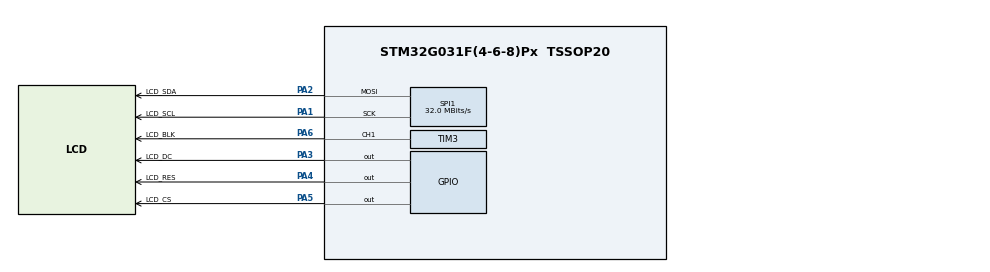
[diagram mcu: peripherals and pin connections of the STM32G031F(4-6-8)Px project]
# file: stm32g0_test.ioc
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Dma.Request0=SPI1_TX
Dma.SPI1_TX.0.Direction=DMA_MEMORY_TO_PERIPH
Dma.SPI1_TX.0.EventEnable=DISABLE
Dma.SPI1_TX.0.Instance=DMA1_Channel1
Dma.SPI1_TX.0.MemDataAlignment=DMA_MDATAALIGN_HALFWORD
Dma.SPI1_TX.0.MemInc=DMA_MINC_ENABLE
Dma.SPI1_TX.0.Mode=DMA_NORMAL
Dma.SPI1_TX.0.PeriphDataAlignment=DMA_PDATAALIGN_HALFWORD
Dma.SPI1_TX.0.PeriphInc=DMA_PINC_DISABLE
Dma.SPI1_TX.0.Polarity=HAL_DMAMUX_REQ_GEN_RISING
Dma.SPI1_TX.0.Priority=DMA_PRIORITY_LOW
Dma.SPI1_TX.0.RequestNumber=1
Dma.SPI1_TX.0.SignalID=NONE
Dma.SPI1_TX.0.SyncEnable=DISABLE
Dma.SPI1_TX.0.SyncPolarity=HAL_DMAMUX_SYNC_NO_EVENT
Dma.SPI1_TX.0.SyncRequestNumber=1
Dma.SPI1_TX.0.SyncSignalID=NONE
Mcu.Family=STM32G0
Mcu.Name=STM32G031F(4-6-8)Px
Mcu.Package=TSSOP20
NVIC.DMA1_Channel1_IRQn=true\:0\:0\:false\:false\:true\:false\:true\:true
PA1.GPIO_Label=LCD_SCL
PA1.GPIO_PuPd=GPIO_PULLUP
PA1.GPIO_Speed=GPIO_SPEED_FREQ_VERY_HIGH
PA1.Mode=TX_Only_Simplex_Unidirect_Master
PA1.Signal=SPI1_SCK
PA13.Mode=Serial_Wire
PA13.Signal=SYS_SWDIO
PA14-BOOT0.Mode=Serial_Wire
PA14-BOOT0.Signal=SYS_SWCLK
PA14-BOOT0__PA15.StandardMode=true
PA2.GPIO_Label=LCD_SDA
PA2.GPIO_PuPd=GPIO_PULLUP
PA2.GPIO_Speed=GPIO_SPEED_FREQ_VERY_HIGH
PA2.Mode=TX_Only_Simplex_Unidirect_Master
PA2.Signal=SPI1_MOSI
PA3.GPIO_Label=LCD_DC
PA3.GPIO_Speed=GPIO_SPEED_FREQ_HIGH
PA3.PinState=GPIO_PIN_SET
PA3.Signal=GPIO_Output
PA4.GPIO_Label=LCD_RES
PA4.GPIO_PuPd=GPIO_PULLUP
PA4.GPIO_Speed=GPIO_SPEED_FREQ_HIGH
PA4.PinState=GPIO_PIN_SET
PA4.Signal=GPIO_Output
PA5.GPIO_Label=LCD_CS
PA5.GPIO_PuPd=GPIO_PULLUP
PA5.GPIO_Speed=GPIO_SPEED_FREQ_HIGH
PA5.PinState=GPIO_PIN_SET
PA5.Signal=GPIO_Output
PA6.GPIO_Label=LCD_BLK
PA6.Signal=S_TIM3_CH1
PB0__PB1__PB2__PA8.StandardMode=true
PB3__PB4__PB5__PB6.StandardMode=true
PB7__PB8.StandardMode=true
PC14-OSC32_IN\ (PC14)__PB9.StandardMode=true
ProjectManager.HeapSize=0x200
ProjectManager.StackSize=0x400
ProjectManager.TargetToolchain=STM32CubeIDE
RCC.ADCFreq_Value=64000000
RCC.AHBFreq_Value=64000000
RCC.CortexFreq_Value=64000000
RCC.EXTERNAL_CLOCK_VALUE=12288000
RCC.HCLKFreq_Value=64000000
RCC.HSE_VALUE=8000000
RCC.HSI_VALUE=16000000
RCC.LSE_VALUE=32768
RCC.SYSCLKFreq_VALUE=64000000
RCC.SYSCLKSource=RCC_SYSCLKSOURCE_PLLCLK
RCC.VCOOutputFreq_Value=128000000
SH.S_TIM3_CH1.0=TIM3_CH1,PWM Generation1 CH1
SPI1.CLKPolarity=SPI_POLARITY_HIGH
SPI1.CalculateBaudRate=32.0 MBits/s
SPI1.DataSize=SPI_DATASIZE_16BIT
SPI1.Direction=SPI_DIRECTION_2LINES
SPI1.Mode=SPI_MODE_MASTER
SPI1.VirtualType=VM_MASTER
TIM3.Channel-PWM\ Generation1\ CH1=TIM_CHANNEL_1
TIM3.Period=159
TIM3.Prescaler=999
board=custom

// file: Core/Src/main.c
/* USER CODE BEGIN Header */
/*
 *	Драйвер управления дисплеями по SPI
 *  Author: VadRov
 *  Copyright (C) 2019 - 2023, VadRov, all right reserved.
 *
 *  Допускается свободное распространение без целей коммерческого использования.
 *  При коммерческом использовании необходимо согласование с автором.
 *  Распространятся по типу "как есть", то есть использование осуществляете на свой страх и риск.
 *  Автор не предоставляет никаких гарантий.
 *
 *  Версия: 1.4G0 (на CMSIS и LL) для STM32G0
 *
 *  https://www.youtube.com/@VadRov
 *  https://dzen.ru/vadrov
 *  https://vk.com/vadrov
 *  https://t.me/vadrov_channel
 *
 */
/* USER CODE END Header */
#include "main.h"

/* USER CODE BEGIN Includes */
#include "display.h"
#include "st7789.h"
#include <stdlib.h>
/* USER CODE END Includes */

/* USER CODE BEGIN PD */
uint32_t millis = 0;
/* USER CODE END PD */

void SystemClock_Config(void);
static void MX_GPIO_Init(void);
static void MX_DMA_Init(void);
static void MX_SPI1_Init(void);
static void MX_TIM3_Init(void);

int main(void)
{

  /* MCU Configuration--------------------------------------------------------*/

  /* Reset of all peripherals, Initializes the Flash interface and the Systick. */
  LL_APB2_GRP1_EnableClock(LL_APB2_GRP1_PERIPH_SYSCFG);
  LL_APB1_GRP1_EnableClock(LL_APB1_GRP1_PERIPH_PWR);

  /* SysTick_IRQn interrupt configuration */
  NVIC_SetPriority(SysTick_IRQn, 3);

  /* Configure the system clock */
  SystemClock_Config();

  /* USER CODE BEGIN SysInit */
  //настраиваем системный таймер (прерывания 1000 раз в секунду)
  SysTick_Config(SystemCoreClock/1000);
  /* USER CODE END SysInit */

  /* Initialize all configured peripherals */
  MX_GPIO_Init();
  MX_DMA_Init();
  MX_SPI1_Init();
  MX_TIM3_Init();
  /* USER CODE BEGIN 2 */
  LCD_DMA_TypeDef dma_tx = { DMA1,
		  	  	  	  	     LL_DMA_CHANNEL_1 };

  LCD_BackLight_data bkl_data = { TIM3,
		  	  	  	  	  	  	  LL_TIM_CHANNEL_CH1,
								  0,
								  0,
								  50  };

  LCD_SPI_Connected_data spi_con = { SPI1,
		  	  	  	  	  	  	  	 dma_tx,
									 LCD_RES_GPIO_Port,
									 LCD_RES_Pin,
									 LCD_DC_GPIO_Port,
									 LCD_DC_Pin,
									 LCD_CS_GPIO_Port,
								 	 LCD_CS_Pin         };

#ifndef LCD_DYNAMIC_MEM
  LCD_Handler lcd1;
#endif

/*  Для дисплея на контроллере ST7789   */
  LCD = LCD_DisplayAdd( LCD,
#ifndef LCD_DYNAMIC_MEM
		  	  	  	  	&lcd1,
#endif
		  	  	  	  	240,
		   				240,
						ST7789_CONTROLLER_WIDTH,
						ST7789_CONTROLLER_HEIGHT,
						//Задаем смещение по ширине и высоте для нестандартных или бракованных дисплеев:
						0,		//смещение по ширине дисплейной матрицы
						0,		//смещение по высоте дисплейной матрицы
						PAGE_ORIENTATION_PORTRAIT,
						ST7789_Init,
						ST7789_SetWindow,
						ST7789_SleepIn,
						ST7789_SleepOut,
						&spi_con,
						LCD_DATA_16BIT_BUS,
						bkl_data );
  /*  Для дисплея на контроллере ILI9341   */
/*
  LCD = LCD_DisplayAdd( LCD,
#ifndef LCD_DYNAMIC_MEM
		  	  	  	  	&lcd1,
#endif
		  	  	  	  	320,
		   				240,
						ILI9341_CONTROLLER_WIDTH,
						ILI9341_CONTROLLER_HEIGHT,
						//Задаем смещение по ширине и высоте для нестандартных или бракованных дисплеев:
						0,		//смещение по ширине дисплейной матрицы
						0,		//смещение по высоте дисплейной матрицы
						//PAGE_ORIENTATION_PORTRAIT_MIRROR,
						PAGE_ORIENTATION_LANDSCAPE,
						ILI9341_Init,
						ILI9341_SetWindow,
						ILI9341_SleepIn,
						ILI9341_SleepOut,
						&spi_con,
						LCD_DATA_16BIT_BUS,
						bkl_data );
*/
  LCD_Handler *lcd = LCD; //указатель на первый дисплей в списке
  LCD_Init(lcd);
  LCD_Fill(lcd, COLOR_RED);
  LCD_WriteString(lcd, 0, 0, "Hello, world!", &Font_8x13, COLOR_YELLOW, COLOR_BLUE, LCD_SYMBOL_PRINT_FAST);
  LL_mDelay(2000);

  /* USER CODE END 2 */

  /* Infinite loop */
  /* USER CODE BEGIN WHILE */
  uint32_t tick;
  uint32_t frames;
  char buff[10];

  uint8_t r = 0, g = 0, b = 0;
  while (1)
  {
  	  frames = 0;
  	  tick = millis;
  	  while (millis - tick < 1000)
  	  {
  		  LCD_Fill(lcd, (r << 16) | (g << 8) | b);

  		  r++;
  		  g += 2;
  		  b += 4;

  		  /* задержка */
  		  /*
  		  for (uint32_t i = 0; i<100000; i++)
		  {
			  __NOP();
		  }
  		  */
  		  frames++;
  	  }
  	  utoa(frames, buff, 10);
  	  LCD_WriteString(lcd, 0, 0, buff, &Font_8x13, COLOR_YELLOW, COLOR_BLUE, LCD_SYMBOL_PRINT_FAST);
  	  LL_mDelay(1000);
  }

  while (1)
  {
    /* USER CODE END WHILE */

  }
}

void SystemClock_Config(void)
{
  LL_FLASH_SetLatency(LL_FLASH_LATENCY_2);
  while(LL_FLASH_GetLatency() != LL_FLASH_LATENCY_2)
  {
  }

  /* HSI configuration and activation */
  LL_RCC_HSI_Enable();
  while(LL_RCC_HSI_IsReady() != 1)
  {
  }

  /* Main PLL configuration and activation */
  LL_RCC_PLL_ConfigDomain_SYS(LL_RCC_PLLSOURCE_HSI, LL_RCC_PLLM_DIV_1, 8, LL_RCC_PLLR_DIV_2);
  LL_RCC_PLL_Enable();
  LL_RCC_PLL_EnableDomain_SYS();
  while(LL_RCC_PLL_IsReady() != 1)
  {
  }

  /* Set AHB prescaler*/
  LL_RCC_SetAHBPrescaler(LL_RCC_SYSCLK_DIV_1);

  /* Sysclk activation on the main PLL */
  LL_RCC_SetSysClkSource(LL_RCC_SYS_CLKSOURCE_PLL);
  while(LL_RCC_GetSysClkSource() != LL_RCC_SYS_CLKSOURCE_STATUS_PLL)
  {
  }

  /* Set APB1 prescaler*/
  LL_RCC_SetAPB1Prescaler(LL_RCC_APB1_DIV_1);

  LL_Init1msTick(64000000);

  /* Update CMSIS variable (which can be updated also through SystemCoreClockUpdate function) */
  LL_SetSystemCoreClock(64000000);
}

static void MX_SPI1_Init(void)
{

  LL_SPI_InitTypeDef SPI_InitStruct = {0};

  LL_GPIO_InitTypeDef GPIO_InitStruct = {0};

  /* Peripheral clock enable */
  LL_APB2_GRP1_EnableClock(LL_APB2_GRP1_PERIPH_SPI1);

  LL_IOP_GRP1_EnableClock(LL_IOP_GRP1_PERIPH_GPIOA);
  /**SPI1 GPIO Configuration
  PA1   ------> SPI1_SCK
  PA2   ------> SPI1_MOSI
  */
  GPIO_InitStruct.Pin = LCD_SCL_Pin;
  GPIO_InitStruct.Mode = LL_GPIO_MODE_ALTERNATE;
  GPIO_InitStruct.Speed = LL_GPIO_SPEED_FREQ_VERY_HIGH;
  GPIO_InitStruct.OutputType = LL_GPIO_OUTPUT_PUSHPULL;
  GPIO_InitStruct.Pull = LL_GPIO_PULL_UP;
  GPIO_InitStruct.Alternate = LL_GPIO_AF_0;
  LL_GPIO_Init(LCD_SCL_GPIO_Port, &GPIO_InitStruct);

  GPIO_InitStruct.Pin = LCD_SDA_Pin;
  GPIO_InitStruct.Mode = LL_GPIO_MODE_ALTERNATE;
  GPIO_InitStruct.Speed = LL_GPIO_SPEED_FREQ_VERY_HIGH;
  GPIO_InitStruct.OutputType = LL_GPIO_OUTPUT_PUSHPULL;
  GPIO_InitStruct.Pull = LL_GPIO_PULL_UP;
  GPIO_InitStruct.Alternate = LL_GPIO_AF_0;
  LL_GPIO_Init(LCD_SDA_GPIO_Port, &GPIO_InitStruct);

  /* SPI1 DMA Init */

  /* SPI1_TX Init */
  LL_DMA_SetPeriphRequest(DMA1, LL_DMA_CHANNEL_1, LL_DMAMUX_REQ_SPI1_TX);

  LL_DMA_SetDataTransferDirection(DMA1, LL_DMA_CHANNEL_1, LL_DMA_DIRECTION_MEMORY_TO_PERIPH);

  LL_DMA_SetChannelPriorityLevel(DMA1, LL_DMA_CHANNEL_1, LL_DMA_PRIORITY_LOW);

  LL_DMA_SetMode(DMA1, LL_DMA_CHANNEL_1, LL_DMA_MODE_NORMAL);

  LL_DMA_SetPeriphIncMode(DMA1, LL_DMA_CHANNEL_1, LL_DMA_PERIPH_NOINCREMENT);

  LL_DMA_SetMemoryIncMode(DMA1, LL_DMA_CHANNEL_1, LL_DMA_MEMORY_INCREMENT);

  LL_DMA_SetPeriphSize(DMA1, LL_DMA_CHANNEL_1, LL_DMA_PDATAALIGN_HALFWORD);

  LL_DMA_SetMemorySize(DMA1, LL_DMA_CHANNEL_1, LL_DMA_MDATAALIGN_HALFWORD);

  /* SPI1 parameter configuration*/
  SPI_InitStruct.TransferDirection = LL_SPI_FULL_DUPLEX;
  SPI_InitStruct.Mode = LL_SPI_MODE_MASTER;
  SPI_InitStruct.DataWidth = LL_SPI_DATAWIDTH_16BIT;
  SPI_InitStruct.ClockPolarity = LL_SPI_POLARITY_HIGH;
  SPI_InitStruct.ClockPhase = LL_SPI_PHASE_1EDGE;
  SPI_InitStruct.NSS = LL_SPI_NSS_SOFT;
  SPI_InitStruct.BaudRate = LL_SPI_BAUDRATEPRESCALER_DIV2;
  SPI_InitStruct.BitOrder = LL_SPI_MSB_FIRST;
  SPI_InitStruct.CRCCalculation = LL_SPI_CRCCALCULATION_DISABLE;
  SPI_InitStruct.CRCPoly = 7;
  LL_SPI_Init(SPI1, &SPI_InitStruct);
  LL_SPI_SetStandard(SPI1, LL_SPI_PROTOCOL_MOTOROLA);
  LL_SPI_EnableNSSPulseMgt(SPI1);

}

static void MX_TIM3_Init(void)
{

  LL_TIM_InitTypeDef TIM_InitStruct = {0};
  LL_TIM_OC_InitTypeDef TIM_OC_InitStruct = {0};

  LL_GPIO_InitTypeDef GPIO_InitStruct = {0};

  /* Peripheral clock enable */
  LL_APB1_GRP1_EnableClock(LL_APB1_GRP1_PERIPH_TIM3);

  TIM_InitStruct.Prescaler = 999;
  TIM_InitStruct.CounterMode = LL_TIM_COUNTERMODE_UP;
  TIM_InitStruct.Autoreload = 159;
  TIM_InitStruct.ClockDivision = LL_TIM_CLOCKDIVISION_DIV1;
  LL_TIM_Init(TIM3, &TIM_InitStruct);
  LL_TIM_DisableARRPreload(TIM3);
  LL_TIM_OC_EnablePreload(TIM3, LL_TIM_CHANNEL_CH1);
  TIM_OC_InitStruct.OCMode = LL_TIM_OCMODE_PWM1;
  TIM_OC_InitStruct.OCState = LL_TIM_OCSTATE_DISABLE;
  TIM_OC_InitStruct.OCNState = LL_TIM_OCSTATE_DISABLE;
  TIM_OC_InitStruct.CompareValue = 0;
  TIM_OC_InitStruct.OCPolarity = LL_TIM_OCPOLARITY_HIGH;
  LL_TIM_OC_Init(TIM3, LL_TIM_CHANNEL_CH1, &TIM_OC_InitStruct);
  LL_TIM_OC_DisableFast(TIM3, LL_TIM_CHANNEL_CH1);
  LL_TIM_SetTriggerOutput(TIM3, LL_TIM_TRGO_RESET);
  LL_TIM_DisableMasterSlaveMode(TIM3);
  LL_IOP_GRP1_EnableClock(LL_IOP_GRP1_PERIPH_GPIOA);
  /**TIM3 GPIO Configuration
  PA6   ------> TIM3_CH1
  */
  GPIO_InitStruct.Pin = LCD_BLK_Pin;
  GPIO_InitStruct.Mode = LL_GPIO_MODE_ALTERNATE;
  GPIO_InitStruct.Speed = LL_GPIO_SPEED_FREQ_LOW;
  GPIO_InitStruct.OutputType = LL_GPIO_OUTPUT_PUSHPULL;
  GPIO_InitStruct.Pull = LL_GPIO_PULL_NO;
  GPIO_InitStruct.Alternate = LL_GPIO_AF_1;
  LL_GPIO_Init(LCD_BLK_GPIO_Port, &GPIO_InitStruct);

}

static void MX_DMA_Init(void)
{

  /* Init with LL driver */
  /* DMA controller clock enable */
  LL_AHB1_GRP1_EnableClock(LL_AHB1_GRP1_PERIPH_DMA1);

  /* DMA interrupt init */
  /* DMA1_Channel1_IRQn interrupt configuration */
  NVIC_SetPriority(DMA1_Channel1_IRQn, 0);
  NVIC_EnableIRQ(DMA1_Channel1_IRQn);

}

static void MX_GPIO_Init(void)
{
  LL_GPIO_InitTypeDef GPIO_InitStruct = {0};

  /* GPIO Ports Clock Enable */
  LL_IOP_GRP1_EnableClock(LL_IOP_GRP1_PERIPH_GPIOA);

  /**/
  LL_GPIO_SetOutputPin(LCD_DC_GPIO_Port, LCD_DC_Pin);

  /**/
  LL_GPIO_SetOutputPin(LCD_RES_GPIO_Port, LCD_RES_Pin);

  /**/
  LL_GPIO_SetOutputPin(LCD_CS_GPIO_Port, LCD_CS_Pin);

  /**/
  GPIO_InitStruct.Pin = LCD_DC_Pin;
  GPIO_InitStruct.Mode = LL_GPIO_MODE_OUTPUT;
  GPIO_InitStruct.Speed = LL_GPIO_SPEED_FREQ_HIGH;
  GPIO_InitStruct.OutputType = LL_GPIO_OUTPUT_PUSHPULL;
  GPIO_InitStruct.Pull = LL_GPIO_PULL_NO;
  LL_GPIO_Init(LCD_DC_GPIO_Port, &GPIO_InitStruct);

  /**/
  GPIO_InitStruct.Pin = LCD_RES_Pin;
  GPIO_InitStruct.Mode = LL_GPIO_MODE_OUTPUT;
  GPIO_InitStruct.Speed = LL_GPIO_SPEED_FREQ_HIGH;
  GPIO_InitStruct.OutputType = LL_GPIO_OUTPUT_PUSHPULL;
  GPIO_InitStruct.Pull = LL_GPIO_PULL_UP;
  LL_GPIO_Init(LCD_RES_GPIO_Port, &GPIO_InitStruct);

  /**/
  GPIO_InitStruct.Pin = LCD_CS_Pin;
  GPIO_InitStruct.Mode = LL_GPIO_MODE_OUTPUT;
  GPIO_InitStruct.Speed = LL_GPIO_SPEED_FREQ_HIGH;
  GPIO_InitStruct.OutputType = LL_GPIO_OUTPUT_PUSHPULL;
  GPIO_InitStruct.Pull = LL_GPIO_PULL_UP;
  LL_GPIO_Init(LCD_CS_GPIO_Port, &GPIO_InitStruct);

}

void Error_Handler(void)
{
  __disable_irq();
  while (1)
  {
  }
}
